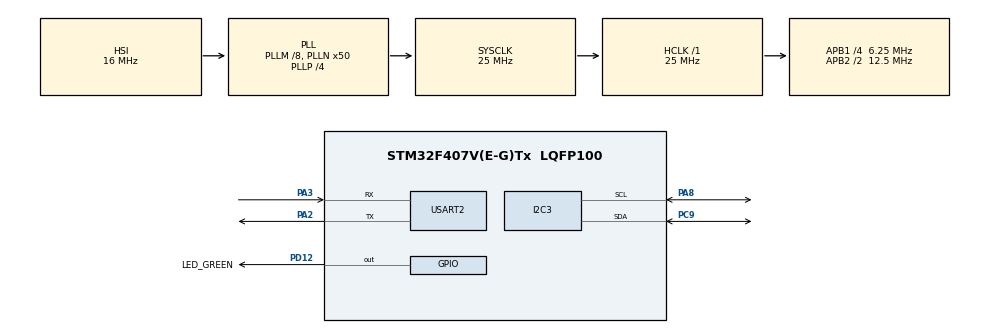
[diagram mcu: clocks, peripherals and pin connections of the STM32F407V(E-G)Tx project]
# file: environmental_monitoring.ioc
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FREERTOS.Tasks01=defaultTask,24,128,StartDefaultTask,Default,NULL,Dynamic,NULL,NULL
Mcu.Family=STM32F4
Mcu.Name=STM32F407V(E-G)Tx
Mcu.Package=LQFP100
NVIC.PriorityGroup=NVIC_PRIORITYGROUP_4
NVIC.TIM1_UP_TIM10_IRQn=true\:15\:0\:false\:false\:true\:false\:false\:true\:true
NVIC.TIM3_IRQn=true\:5\:0\:false\:false\:true\:true\:true\:true\:true
NVIC.TimeBase=TIM1_UP_TIM10_IRQn
NVIC.TimeBaseIP=TIM1
NVIC.USART2_IRQn=true\:5\:0\:false\:false\:true\:true\:true\:true\:true
PA13.Mode=Serial_Wire
PA13.Signal=SYS_JTMS-SWDIO
PA14.Mode=Serial_Wire
PA14.Signal=SYS_JTCK-SWCLK
PA2.Mode=Asynchronous
PA2.Signal=USART2_TX
PA3.Mode=Asynchronous
PA3.Signal=USART2_RX
PA8.Mode=I2C
PA8.Signal=I2C3_SCL
PC9.Mode=I2C
PC9.Signal=I2C3_SDA
PD12.GPIO_Label=LED_GREEN
PD12.Signal=GPIO_Output
ProjectManager.HeapSize=0x200
ProjectManager.StackSize=0x400
ProjectManager.TargetToolchain=STM32CubeIDE
RCC.48MHZClocksFreq_Value=14285714.285714285
RCC.AHBFreq_Value=25000000
RCC.APB1CLKDivider=RCC_HCLK_DIV4
RCC.APB1Freq_Value=6250000
RCC.APB1TimFreq_Value=12500000
RCC.APB2CLKDivider=RCC_HCLK_DIV2
RCC.APB2Freq_Value=12500000
RCC.APB2TimFreq_Value=25000000
RCC.CortexFreq_Value=25000000
RCC.HCLKFreq_Value=25000000
RCC.HSE_VALUE=8000000
RCC.HSI_VALUE=16000000
RCC.LSE_VALUE=32768
RCC.PLLM=8
RCC.PLLN=50
RCC.PLLP=RCC_PLLP_DIV4
RCC.PLLQ=7
RCC.SYSCLKFreq_VALUE=25000000
RCC.SYSCLKSource=RCC_SYSCLKSOURCE_PLLCLK
RCC.VCOOutputFreq_Value=100000000
TIM3.Period=999
TIM3.Prescaler=12499
USART2.VirtualMode=VM_ASYNC
VP_FREERTOS_VS_CMSIS_V2.Mode=CMSIS_V2
VP_SYS_VS_tim1.Mode=TIM1
VP_TIM3_VS_ClockSourceINT.Mode=Internal
board=STM32F407G-DISC1

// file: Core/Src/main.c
/* USER CODE BEGIN Header */
/**
  ******************************************************************************
  * @file           : main.c
  * @brief          : Main program body
  ******************************************************************************
  * @attention
  *
  * Copyright (c) 2026 STMicroelectronics.
  * All rights reserved.
  *
  * This software is licensed under terms that can be found in the LICENSE file
  * in the root directory of this software component.
  * If no LICENSE file comes with this software, it is provided AS-IS.
  *
  ******************************************************************************
  */
/* USER CODE END Header */
#include "main.h"
#include "cmsis_os.h"
/* USER CODE BEGIN Includes */
#include "i2c_core.h"
#include "FreeRTOS.h"
#include "task.h"
#include "queue.h"
#include "semphr.h"

#include "../../Middlewares/Third_Party/Segger_SystemView/include/SEGGER_SYSVIEW.h"
/* USER CODE END Includes */

I2C_HandleTypeDef hi2c3;

TIM_HandleTypeDef htim3;

UART_HandleTypeDef huart2;

void SystemClock_Config(void);
static void MX_GPIO_Init(void);
static void MX_I2C3_Init(void);
static void MX_TIM3_Init(void);
static void MX_USART2_UART_Init(void);

/* USER CODE BEGIN 0 */
/* --------------------------------------------------------------------------
 * Platform abstraction layer — I2C wrappers
 * -------------------------------------------------------------------------- */

/**
 * @brief Platform I2C read wrapper for sensor drivers.
 *
 * Sensor drivers call this function pointer instead of HAL directly, keeping
 * the drivers portable across different MCU platforms.
 *
 * When @p reg_addr is 0 the function performs a raw master-receive
 * (no register address phase). Otherwise it uses HAL_I2C_Mem_Read.
 *
 * @param[in]  dev_addr 8-bit I2C device address (already left-shifted by 1).
 * @param[in]  reg_addr Register address to read from; 0 for raw receive.
 * @param[out] data     Pointer to the buffer that receives the data.
 * @param[in]  len      Number of bytes to read.
 * @return  0 on success, -1 on I2C error.
 */
int8_t stm32_i2c_read_wrapper(uint8_t dev_addr, uint8_t reg_addr, uint8_t *data, uint16_t len) {
	if (reg_addr == 0)
	{
	        if (HAL_I2C_Master_Receive(&hi2c3, dev_addr, data, len, 100) == HAL_OK)
	        {
	            return 0;
	        }
	    }
    if(HAL_I2C_Mem_Read(&hi2c3, dev_addr, reg_addr, 1, data, len, 100) == HAL_OK)
	{
    	return 0;
	}
    return -1;
}
/**
 * @brief Platform I2C write wrapper for sensor drivers.
 *
 * When @p reg_addr is 0 the function performs a raw master-transmit
 * (no register address phase). Otherwise it uses HAL_I2C_Mem_Write.
 *
 * @param[in] dev_addr 8-bit I2C device address (already left-shifted by 1).
 * @param[in] reg_addr Register address to write to; 0 for raw transmit.
 * @param[in] data     Pointer to the data to transmit.
 * @param[in] len      Number of bytes to write.
 * @return  0 on success, -1 on I2C error.
 */
int8_t stm32_i2c_write_wrapper(uint8_t dev_addr, uint8_t reg_addr, uint8_t *data, uint16_t len) {
	if(reg_addr == 0)
	{
		if (HAL_I2C_Master_Transmit(&hi2c3, dev_addr, data, len, 100) == HAL_OK)
		{
			return 0;
		}
	}
    if(HAL_I2C_Mem_Write(&hi2c3, dev_addr, reg_addr, 1, data, len, 100) == HAL_OK)
	{
    	return 0;
	}
    return -1;
}
/**
 * @brief Platform delay wrapper for sensor drivers.
 * @param[in] ms Delay duration in milliseconds.
 */
void stm32_delay_wrapper(uint32_t ms) {
    osDelay(ms);
}

/* --------------------------------------------------------------------------
 * Rtos object handles, task function prototypes
 * -------------------------------------------------------------------------- */
BaseType_t  xConsumerTask;   /**< Task creation return status for the Consumer Task. */
BaseType_t  xProducerTask;   /**< Task creation return status for the Producer Task. */
BaseType_t  xStatisticsTask; /**< Task creation return status for the Statistics Task. */

TaskHandle_t h_ProducerTask;   /**< Handle for the Producer task, used for task control and querying. */
TaskHandle_t h_StatisticsTask; /**< Handle for the Statistics task, used specifically for receiving task notifications. */
TaskHandle_t h_ConsumerTask;   /**< Handle for the Consumer task, used for task control and management. */

xSemaphoreHandle xDataAvailable;   /**< Binary semaphore signaling new data is ready (Producer -> Consumer). */
xSemaphoreHandle xSpaceAvailable;  /**< Binary semaphore signaling data was processed (Consumer -> Producer). */

xSemaphoreHandle xMutexHumSensor;   /**< Mutex protecting shared I2C access to the humidity sensor. */
xSemaphoreHandle xMutexTempSensor;  /**< Mutex protecting shared I2C access to the temperature sensor. */
xSemaphoreHandle xMutexLightSensor; /**< Mutex protecting shared I2C access to the light sensor. */

/**
 * @brief  Task responsible for consuming raw sensor data.
 * It applies sliding-window median filters and stores the results into ring buffers.
 * Notifies the statistics task every 30 seconds.
 * @param  pvParameters Pointer to task parameters (usually NULL).
 */
void vConsumerTask( void * pvParameters );

/**
 * @brief  Task responsible for periodically reading data from I2C sensors.
 * Runs every 1000ms and signals the consumer task via xDataAvailable semaphore.
 * @param  pvParameters Pointer to task parameters (usually NULL).
 */
void vProducerTask( void * pvParameters );

/**
 * @brief  Task responsible for calculating descriptive statistics.
 * Triggered by a notification from the consumer task to compute median, mean,
 * min, max, and standard deviation from the ring buffers.
 * @param  pvParameters Pointer to task parameters (usually NULL).
 */
void vStatisticsCalcTask(void * pvParameters);

/* --------------------------------------------------------------------------
 * Sensor driver handles
 * -------------------------------------------------------------------------- */
BMP180_HandleTypeDef hbmp180; /**< BMP180 pressure/temperature sensor handle. */
BH1750_HandleTypeDef hbh1750; /**< BH1750 ambient-light sensor handle. */
AHT20_HandleTypeDef  haht20;  /**< AHT20 humidity/temperature sensor handle. */

/* --------------------------------------------------------------------------
 * Filter and buffer handles
 * -------------------------------------------------------------------------- */
Filter_Handle_t hFiltHum;   /**< Sliding-window median filter for humidity. */
Filter_Handle_t hFiltTemp;  /**< Sliding-window median filter for temperature. */
Filter_Handle_t hFiltLight; /**< Sliding-window median filter for illuminance. */

buf_handle_t hBufHum;   /**< Ring buffer storing filtered humidity samples. */
buf_handle_t hBufTemp;  /**< Ring buffer storing filtered temperature samples. */
buf_handle_t hBufLight; /**< Ring buffer storing filtered illuminance samples. */

Sensor_Stats_t hum_stats;   /**< Statistical results for humidity. */
Sensor_Stats_t temp_stats;  /**< Statistical results for temperature. */
Sensor_Stats_t light_stats; /**< Statistical results for illuminance. */

/** @brief Number of samples held in each ring buffer (equals the reporting period in seconds). */
#define RING_BUFFER_SIZE 30

static float storageHum[RING_BUFFER_SIZE];   /**< Backing array for hBufHum. */
static float storageTemp[RING_BUFFER_SIZE];  /**< Backing array for hBufTemp. */
static float storageLight[RING_BUFFER_SIZE]; /**< Backing array for hBufLight. */

float raw_hum;
float raw_light;
float raw_temp;

static uint8_t          seconds_counter  = 0; /**< Counts elapsed seconds; resets after 30. */
volatile uint8_t        read_sensor_flag = 0; /**< Set to 1 by TIM3 ISR; cleared in main loop. */

/* USER CODE END 0 */

int main(void)
{

  /* MCU Configuration--------------------------------------------------------*/

  /* Reset of all peripherals, Initializes the Flash interface and the Systick. */
  HAL_Init();

  /* Configure the system clock */
  SystemClock_Config();

  /* Initialize all configured peripherals */
  MX_GPIO_Init();
  MX_I2C3_Init();
  MX_TIM3_Init();
  MX_USART2_UART_Init();
  /* USER CODE BEGIN 2 */

  /* Configure BMP180 */
  hbmp180.i2c_read = stm32_i2c_read_wrapper;
  hbmp180.i2c_write = stm32_i2c_write_wrapper;
  hbmp180.delay_ms = stm32_delay_wrapper;
  hbmp180.oss = 0;
  BMP180_Init(&hbmp180);

  /* Configure BH1750 */
  hbh1750.address = BH1750_ADDRESS_GND;
  hbh1750.delay_ms = stm32_delay_wrapper;
  hbh1750.i2c_read = stm32_i2c_read_wrapper;
  hbh1750.i2c_write = stm32_i2c_write_wrapper;
  hbh1750.mode = BH1750_ONE_TIME_H_RES_MODE;
  BH1750_Init(&hbh1750);

  /* Configure AHT20 */
  haht20.delay_ms = stm32_delay_wrapper;
  haht20.i2c_read = stm32_i2c_read_wrapper;
  haht20.i2c_write = stm32_i2c_write_wrapper;
  AHT20_Init(&haht20);

  /* Initialise ring buffers */
  buffer_init(&hBufHum, storageHum, RING_BUFFER_SIZE);
  buffer_init(&hBufTemp, storageTemp, RING_BUFFER_SIZE);
  buffer_init(&hBufLight, storageLight, RING_BUFFER_SIZE);

  SEGGER_SYSVIEW_Conf();
  /* USER CODE END 2 */

  /* Init scheduler */

  /* USER CODE BEGIN RTOS_MUTEX */
  xMutexHumSensor =  xSemaphoreCreateMutex( );
  xMutexTempSensor =  xSemaphoreCreateMutex( );
  xMutexLightSensor =  xSemaphoreCreateMutex( );
  /* USER CODE END RTOS_MUTEX */

  /* USER CODE BEGIN RTOS_SEMAPHORES */
  vSemaphoreCreateBinary(xSpaceAvailable);
  vSemaphoreCreateBinary(xDataAvailable);
  /* USER CODE END RTOS_SEMAPHORES */

  /* Create the thread(s) */

  /* USER CODE BEGIN RTOS_THREADS */
  xConsumerTask = xTaskCreate(
                    vConsumerTask,
                    "Consumer",
                    128,
                    NULL,
                    5,
                    &h_ConsumerTask );

  if( xConsumerTask != pdPASS )
  {
	  vTaskDelete( h_ConsumerTask );
  }

  xProducerTask = xTaskCreate(
  		  	  	  vProducerTask,
                    "Producer",
					128,
                    NULL,
                    5,
                    &h_ProducerTask );
  if( xProducerTask != pdPASS )
  {
	  vTaskDelete( h_ConsumerTask );
  }

  xStatisticsTask = xTaskCreate(
		  	  	  	vStatisticsCalcTask,
                    "Statistics",
					128,
                    NULL,
                    5,
                    &h_StatisticsTask );
  if( xStatisticsTask != pdPASS )
  {
	  vTaskDelete( h_StatisticsTask );
  }

  HAL_TIM_Base_Start_IT(&htim3);
  /* USER CODE END RTOS_THREADS */

  /* USER CODE BEGIN RTOS_EVENTS */
  xSemaphoreGive(xSpaceAvailable);

  /* USER CODE END RTOS_EVENTS */

  /* Start scheduler */

  vTaskStartScheduler();

  /* We should never get here as control is now taken by the scheduler */

  /* Infinite loop */
  while (1)
  {

  }
}

void SystemClock_Config(void)
{
  RCC_OscInitTypeDef RCC_OscInitStruct = {0};
  RCC_ClkInitTypeDef RCC_ClkInitStruct = {0};

  /** Configure the main internal regulator output voltage
  */
  __HAL_RCC_PWR_CLK_ENABLE();
  __HAL_PWR_VOLTAGESCALING_CONFIG(PWR_REGULATOR_VOLTAGE_SCALE1);

  /** Initializes the RCC Oscillators according to the specified parameters
  * in the RCC_OscInitTypeDef structure.
  */
  RCC_OscInitStruct.OscillatorType = RCC_OSCILLATORTYPE_HSI;
  RCC_OscInitStruct.HSIState = RCC_HSI_ON;
  RCC_OscInitStruct.HSICalibrationValue = RCC_HSICALIBRATION_DEFAULT;
  RCC_OscInitStruct.PLL.PLLState = RCC_PLL_ON;
  RCC_OscInitStruct.PLL.PLLSource = RCC_PLLSOURCE_HSI;
  RCC_OscInitStruct.PLL.PLLM = 8;
  RCC_OscInitStruct.PLL.PLLN = 50;
  RCC_OscInitStruct.PLL.PLLP = RCC_PLLP_DIV4;
  RCC_OscInitStruct.PLL.PLLQ = 7;
  if (HAL_RCC_OscConfig(&RCC_OscInitStruct) != HAL_OK)
  {
    Error_Handler();
  }

  /** Initializes the CPU, AHB and APB buses clocks
  */
  RCC_ClkInitStruct.ClockType = RCC_CLOCKTYPE_HCLK|RCC_CLOCKTYPE_SYSCLK
                              |RCC_CLOCKTYPE_PCLK1|RCC_CLOCKTYPE_PCLK2;
  RCC_ClkInitStruct.SYSCLKSource = RCC_SYSCLKSOURCE_PLLCLK;
  RCC_ClkInitStruct.AHBCLKDivider = RCC_SYSCLK_DIV1;
  RCC_ClkInitStruct.APB1CLKDivider = RCC_HCLK_DIV4;
  RCC_ClkInitStruct.APB2CLKDivider = RCC_HCLK_DIV2;

  if (HAL_RCC_ClockConfig(&RCC_ClkInitStruct, FLASH_LATENCY_0) != HAL_OK)
  {
    Error_Handler();
  }
}

static void MX_I2C3_Init(void)
{

  hi2c3.Instance = I2C3;
  hi2c3.Init.ClockSpeed = 100000;
  hi2c3.Init.DutyCycle = I2C_DUTYCYCLE_2;
  hi2c3.Init.OwnAddress1 = 0;
  hi2c3.Init.AddressingMode = I2C_ADDRESSINGMODE_7BIT;
  hi2c3.Init.DualAddressMode = I2C_DUALADDRESS_DISABLE;
  hi2c3.Init.OwnAddress2 = 0;
  hi2c3.Init.GeneralCallMode = I2C_GENERALCALL_DISABLE;
  hi2c3.Init.NoStretchMode = I2C_NOSTRETCH_DISABLE;
  if (HAL_I2C_Init(&hi2c3) != HAL_OK)
  {
    Error_Handler();
  }

}

static void MX_TIM3_Init(void)
{

  TIM_ClockConfigTypeDef sClockSourceConfig = {0};
  TIM_MasterConfigTypeDef sMasterConfig = {0};

  htim3.Instance = TIM3;
  htim3.Init.Prescaler = 12499;
  htim3.Init.CounterMode = TIM_COUNTERMODE_UP;
  htim3.Init.Period = 999;
  htim3.Init.ClockDivision = TIM_CLOCKDIVISION_DIV1;
  htim3.Init.AutoReloadPreload = TIM_AUTORELOAD_PRELOAD_DISABLE;
  if (HAL_TIM_Base_Init(&htim3) != HAL_OK)
  {
    Error_Handler();
  }
  sClockSourceConfig.ClockSource = TIM_CLOCKSOURCE_INTERNAL;
  if (HAL_TIM_ConfigClockSource(&htim3, &sClockSourceConfig) != HAL_OK)
  {
    Error_Handler();
  }
  sMasterConfig.MasterOutputTrigger = TIM_TRGO_RESET;
  sMasterConfig.MasterSlaveMode = TIM_MASTERSLAVEMODE_DISABLE;
  if (HAL_TIMEx_MasterConfigSynchronization(&htim3, &sMasterConfig) != HAL_OK)
  {
    Error_Handler();
  }

}

static void MX_USART2_UART_Init(void)
{

  huart2.Instance = USART2;
  huart2.Init.BaudRate = 115200;
  huart2.Init.WordLength = UART_WORDLENGTH_8B;
  huart2.Init.StopBits = UART_STOPBITS_1;
  huart2.Init.Parity = UART_PARITY_NONE;
  huart2.Init.Mode = UART_MODE_TX_RX;
  huart2.Init.HwFlowCtl = UART_HWCONTROL_NONE;
  huart2.Init.OverSampling = UART_OVERSAMPLING_16;
  if (HAL_UART_Init(&huart2) != HAL_OK)
  {
    Error_Handler();
  }

}

static void MX_GPIO_Init(void)
{
  GPIO_InitTypeDef GPIO_InitStruct = {0};

  /* GPIO Ports Clock Enable */
  __HAL_RCC_GPIOA_CLK_ENABLE();
  __HAL_RCC_GPIOD_CLK_ENABLE();
  __HAL_RCC_GPIOC_CLK_ENABLE();

  /*Configure GPIO pin Output Level */
  HAL_GPIO_WritePin(LED_GREEN_GPIO_Port, LED_GREEN_Pin, GPIO_PIN_RESET);

  /*Configure GPIO pin : LED_GREEN_Pin */
  GPIO_InitStruct.Pin = LED_GREEN_Pin;
  GPIO_InitStruct.Mode = GPIO_MODE_OUTPUT_PP;
  GPIO_InitStruct.Pull = GPIO_NOPULL;
  GPIO_InitStruct.Speed = GPIO_SPEED_FREQ_LOW;
  HAL_GPIO_Init(LED_GREEN_GPIO_Port, &GPIO_InitStruct);

}

/* USER CODE BEGIN 4 */
/* --------------------------------------------------------------------------
 * Callbacks and user functions
 * -------------------------------------------------------------------------- */

/*
 *
 */
void vProducerTask( void * pvParameters )
{
	SEGGER_SYSVIEW_Start();
	TickType_t xLastWakeTime;
	const TickType_t xPeriod = pdMS_TO_TICKS( 1000 );
	xLastWakeTime = xTaskGetTickCount();

    for( ;; )
    {
		vTaskDelayUntil(&xLastWakeTime, xPeriod);

		if(xSemaphoreTake( xSpaceAvailable, portMAX_DELAY ) == pdTRUE)
        {
        	xSemaphoreTake( xMutexHumSensor, ( TickType_t ) 10 );
            raw_hum = i2c_sensor_read(AHT20_ADDRESS, HUMIDITY_SENSOR, &haht20);
        	xSemaphoreGive( xMutexHumSensor );

        	xSemaphoreTake( xMutexTempSensor, ( TickType_t ) 10 );
            raw_temp = i2c_sensor_read(AHT20_ADDRESS, TEMPERATURE_SENSOR, &haht20);
        	xSemaphoreGive( xMutexTempSensor );

        	xSemaphoreTake( xMutexLightSensor, ( TickType_t ) 10 );
            raw_light = i2c_sensor_read(BH1750_ADDRESS, LIGHT_SENSOR, &hbh1750);
        	xSemaphoreGive( xMutexLightSensor );

        	xSemaphoreGive(xDataAvailable);
        }
    }
}
void vConsumerTask( void * pvParameters )
{
    for( ;; )
    {
        if(xSemaphoreTake( xDataAvailable, portMAX_DELAY ) == pdTRUE)
        {
        	float hum_raw_data;
        	float temp_raw_data;
        	float light_raw_data;

        	xSemaphoreTake( xMutexHumSensor, ( TickType_t ) 10 );
        	hum_raw_data = raw_hum;
        	xSemaphoreGive( xMutexHumSensor );

        	xSemaphoreTake( xMutexTempSensor, ( TickType_t ) 10 );
        	temp_raw_data = raw_temp;
        	xSemaphoreGive( xMutexTempSensor );

        	xSemaphoreTake( xMutexLightSensor, ( TickType_t ) 10 );
        	light_raw_data = raw_light;
        	xSemaphoreGive( xMutexLightSensor );

        	xSemaphoreGive(xSpaceAvailable);

            float filt_hum = filter_sensor_value(&hFiltHum, hum_raw_data, 5);
            buffer_write_value(&hBufHum, filt_hum);

            float filt_temp = filter_sensor_value(&hFiltTemp, temp_raw_data, 5);
            buffer_write_value(&hBufTemp, filt_temp);

            float filt_light = filter_sensor_value(&hFiltLight, light_raw_data, 5);
            buffer_write_value(&hBufLight, filt_light);

            seconds_counter++;

            if(seconds_counter == 30)
            {
            	xTaskNotify(h_StatisticsTask, 0, eNoAction);
            }
        }
    }
}
void vStatisticsCalcTask(void * pvParameters)
{
	for(;;)
	{
		xTaskNotifyWait( 0, 0, NULL, portMAX_DELAY );

		calculate_statistics(&hBufHum, &hum_stats);
		calculate_statistics(&hBufTemp, &temp_stats);
		calculate_statistics(&hBufLight, &light_stats);
		seconds_counter = 0;
	}

}

/**
 * @brief Computes descriptive statistics from a ring buffer.
 *
 * Iterates over all valid samples in @p p_handle to find the minimum,
 * maximum and arithmetic mean. A second pass computes the population
 * standard deviation. The buffer is then copied to a temporary array,
 * sorted with bubble_sort(), and the median is extracted.
 *
 * @note The function returns immediately if the buffer is empty.
 *
 * @param[in]  p_handle Pointer to the ring buffer handle containing the samples.
 * @param[out] stats    Pointer to the Sensor_Stats_t structure to populate.
 */
void calculate_statistics(buf_handle_t *p_handle, Sensor_Stats_t *stats)
{
    if (p_handle->count == 0)
	{
    	return;
	}

    float temp_arr[RING_BUFFER_SIZE];
    float sum = 0.0f;

    for (uint16_t i = 0; i < p_handle->count; i++)
    {
        float val = p_handle->buffer[i];
        temp_arr[i] = val;
        sum += val;
    }

    bubble_sort(temp_arr, p_handle->count);
    stats->median = calculate_median(temp_arr, p_handle->count);

    stats->min = temp_arr[0];
    stats->max = temp_arr[p_handle->count - 1];

    float mean = sum / p_handle->count;
    float variance_sum = 0.0f;

    for (uint16_t i = 0; i < p_handle->count; i++)
    {
        variance_sum += (temp_arr[i] - mean) * (temp_arr[i] - mean);
    }
    stats->std_dev = sqrtf(variance_sum / p_handle->count);
}

/* USER CODE END 4 */

void HAL_TIM_PeriodElapsedCallback(TIM_HandleTypeDef *htim)
{
  if (htim->Instance == TIM1)
  {
    HAL_IncTick();
  }
  /* USER CODE BEGIN Callback 1 */
  if (htim->Instance == TIM3)
  {
	HAL_GPIO_TogglePin(LED_GREEN_GPIO_Port, LED_GREEN_Pin );
  }
  /* USER CODE END Callback 1 */
}

void Error_Handler(void)
{
  __disable_irq();
  while (1)
  {
  }
}
